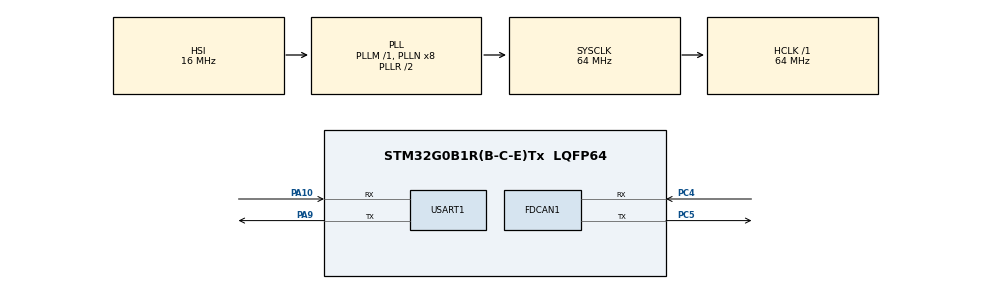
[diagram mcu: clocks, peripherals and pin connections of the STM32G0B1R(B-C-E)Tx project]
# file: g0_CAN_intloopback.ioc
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FDCAN1.CalculateBaudRateNominal=500000
FDCAN1.CalculateTimeBitNominal=2000
FDCAN1.CalculateTimeQuantumNominal=125.0
FDCAN1.Mode=FDCAN_MODE_INTERNAL_LOOPBACK
FDCAN1.NominalPrescaler=8
FDCAN1.NominalTimeSeg1=13
FDCAN1.NominalTimeSeg2=2
FDCAN1.StdFiltersNbr=1
Mcu.Family=STM32G0
Mcu.Name=STM32G0B1R(B-C-E)Tx
Mcu.Package=LQFP64
NVIC.TIM16_FDCAN_IT0_IRQn=true\:0\:0\:false\:false\:true\:true\:true\:true
PA10.Mode=Asynchronous
PA10.Signal=USART1_RX
PA13.Mode=Serial_Wire
PA13.Signal=SYS_SWDIO
PA14-BOOT0.Mode=Serial_Wire
PA14-BOOT0.Signal=SYS_SWCLK
PA9.Mode=Asynchronous
PA9.Signal=USART1_TX
PC4.Mode=FDCAN_Activate
PC4.Signal=FDCAN1_RX
PC5.Mode=FDCAN_Activate
PC5.Signal=FDCAN1_TX
PF0-OSC_IN\ (PF0).Mode=HSE-External-Oscillator
PF0-OSC_IN\ (PF0).Signal=RCC_OSC_IN
PF1-OSC_OUT\ (PF1).Mode=HSE-External-Oscillator
PF1-OSC_OUT\ (PF1).Signal=RCC_OSC_OUT
ProjectManager.HeapSize=0x200
ProjectManager.StackSize=0x400
ProjectManager.TargetToolchain=STM32CubeIDE
RCC.ADCFreq_Value=64000000
RCC.AHBFreq_Value=64000000
RCC.CortexFreq_Value=64000000
RCC.EXTERNAL_CLOCK_VALUE=48000
RCC.HCLKFreq_Value=64000000
RCC.HSE_VALUE=8000000
RCC.HSI48_VALUE=48000000
RCC.HSI_VALUE=16000000
RCC.LSE_VALUE=32768
RCC.SYSCLKFreq_VALUE=64000000
RCC.SYSCLKSource=RCC_SYSCLKSOURCE_PLLCLK
RCC.USBFreq_Value=48000000
RCC.VCOOutputFreq_Value=128000000
USART1.VirtualMode-Asynchronous=VM_ASYNC
VP_SYS_VS_DBSignals.Mode=DisableDeadBatterySignals
board=custom

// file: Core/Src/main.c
/* USER CODE BEGIN Header */
/**
  ******************************************************************************
  * @file           : main.c
  * @brief          : Main program body
  ******************************************************************************
  * @attention
  *
  * Copyright (c) 2026 STMicroelectronics.
  * All rights reserved.
  *
  * This software is licensed under terms that can be found in the LICENSE file
  * in the root directory of this software component.
  * If no LICENSE file comes with this software, it is provided AS-IS.
  *
  ******************************************************************************
  */
/* USER CODE END Header */
#include "main.h"

/* USER CODE BEGIN Includes */
#include <stdio.h>
#include "string.h"
/* USER CODE END Includes */

FDCAN_HandleTypeDef hfdcan1;

UART_HandleTypeDef huart1;

/* USER CODE BEGIN PV */
FDCAN_TxHeaderTypeDef TxHeader;
FDCAN_RxHeaderTypeDef RxHeader;
/* USER CODE END PV */

void SystemClock_Config(void);
static void MX_GPIO_Init(void);
static void MX_FDCAN1_Init(void);
static void MX_USART1_UART_Init(void);

/* USER CODE BEGIN 0 */
uint8_t TxData[8];
uint8_t RxData[8];

char msg[100];

volatile uint8_t rx_flag = 0;
uint8_t last_rx = 0;

void HAL_FDCAN_RxFifo0Callback(FDCAN_HandleTypeDef *hfdcan, uint32_t RxFifo0ITs)
{
    if (RxFifo0ITs & FDCAN_IT_RX_FIFO0_NEW_MESSAGE)
    {
        HAL_FDCAN_GetRxMessage(hfdcan, FDCAN_RX_FIFO0, &RxHeader, RxData);

        /* Store data only (NO PRINTING HERE) */
        last_rx = RxData[0];
        rx_flag = 1;
    }
}
/* USER CODE END 0 */

int main(void)
{

  /* MCU Configuration--------------------------------------------------------*/

  /* Reset of all peripherals, Initializes the Flash interface and the Systick. */
  HAL_Init();

  /* Configure the system clock */
  SystemClock_Config();

  /* Initialize all configured peripherals */
  MX_GPIO_Init();
  MX_FDCAN1_Init();
  MX_USART1_UART_Init();
  /* USER CODE BEGIN 2 */
  HAL_FDCAN_Start(&hfdcan1);
  HAL_FDCAN_ActivateNotification(&hfdcan1, FDCAN_IT_RX_FIFO0_NEW_MESSAGE, 0);
  	  TxHeader.Identifier = 0x111;
      TxHeader.IdType = FDCAN_STANDARD_ID;
      TxHeader.FDFormat = FDCAN_CLASSIC_CAN;
      TxHeader.TxFrameType = FDCAN_DATA_FRAME;
      TxHeader.BitRateSwitch = FDCAN_BRS_OFF;
      TxHeader.DataLength = FDCAN_DLC_BYTES_1;
      TxHeader.ErrorStateIndicator = FDCAN_ESI_ACTIVE;
      TxHeader.TxEventFifoControl = FDCAN_NO_TX_EVENTS;
      TxHeader.MessageMarker = 0;

      TxData[0] = 0x001;

      if(HAL_FDCAN_ActivateNotification(&hfdcan1, FDCAN_IT_RX_FIFO0_NEW_MESSAGE, 0) != HAL_OK)
      {
    	  Error_Handler();
      }

  /* USER CODE END 2 */

  /* Infinite loop */
  while (1)
  {

    /* USER CODE BEGIN 3 */
	HAL_FDCAN_AddMessageToTxFifoQ(&hfdcan1, &TxHeader, TxData);
	sprintf(msg, "TX Sent\r\n");
	HAL_UART_Transmit(&huart1, (uint8_t*)msg, strlen(msg), HAL_MAX_DELAY);
    if (rx_flag)
    {
        sprintf(msg, "RX: %d\r\n", last_rx);
        HAL_UART_Transmit(&huart1, (uint8_t*)msg, strlen(msg), HAL_MAX_DELAY);

        rx_flag = 0;
    }

    HAL_Delay(1000);
  }
  /* USER CODE END 3 */
}

void SystemClock_Config(void)
{
  RCC_OscInitTypeDef RCC_OscInitStruct = {0};
  RCC_ClkInitTypeDef RCC_ClkInitStruct = {0};

  /** Configure the main internal regulator output voltage
  */
  HAL_PWREx_ControlVoltageScaling(PWR_REGULATOR_VOLTAGE_SCALE1);

  /** Initializes the RCC Oscillators according to the specified parameters
  * in the RCC_OscInitTypeDef structure.
  */
  RCC_OscInitStruct.OscillatorType = RCC_OSCILLATORTYPE_HSI;
  RCC_OscInitStruct.HSIState = RCC_HSI_ON;
  RCC_OscInitStruct.HSIDiv = RCC_HSI_DIV1;
  RCC_OscInitStruct.HSICalibrationValue = RCC_HSICALIBRATION_DEFAULT;
  RCC_OscInitStruct.PLL.PLLState = RCC_PLL_ON;
  RCC_OscInitStruct.PLL.PLLSource = RCC_PLLSOURCE_HSI;
  RCC_OscInitStruct.PLL.PLLM = RCC_PLLM_DIV1;
  RCC_OscInitStruct.PLL.PLLN = 8;
  RCC_OscInitStruct.PLL.PLLP = RCC_PLLP_DIV2;
  RCC_OscInitStruct.PLL.PLLQ = RCC_PLLQ_DIV2;
  RCC_OscInitStruct.PLL.PLLR = RCC_PLLR_DIV2;
  if (HAL_RCC_OscConfig(&RCC_OscInitStruct) != HAL_OK)
  {
    Error_Handler();
  }

  /** Initializes the CPU, AHB and APB buses clocks
  */
  RCC_ClkInitStruct.ClockType = RCC_CLOCKTYPE_HCLK|RCC_CLOCKTYPE_SYSCLK
                              |RCC_CLOCKTYPE_PCLK1;
  RCC_ClkInitStruct.SYSCLKSource = RCC_SYSCLKSOURCE_PLLCLK;
  RCC_ClkInitStruct.AHBCLKDivider = RCC_SYSCLK_DIV1;
  RCC_ClkInitStruct.APB1CLKDivider = RCC_HCLK_DIV1;

  if (HAL_RCC_ClockConfig(&RCC_ClkInitStruct, FLASH_LATENCY_2) != HAL_OK)
  {
    Error_Handler();
  }
}

static void MX_FDCAN1_Init(void)
{

  hfdcan1.Instance = FDCAN1;
  hfdcan1.Init.ClockDivider = FDCAN_CLOCK_DIV1;
  hfdcan1.Init.FrameFormat = FDCAN_FRAME_CLASSIC;
  hfdcan1.Init.Mode = FDCAN_MODE_INTERNAL_LOOPBACK;
  hfdcan1.Init.AutoRetransmission = DISABLE;
  hfdcan1.Init.TransmitPause = DISABLE;
  hfdcan1.Init.ProtocolException = DISABLE;
  hfdcan1.Init.NominalPrescaler = 8;
  hfdcan1.Init.NominalSyncJumpWidth = 1;
  hfdcan1.Init.NominalTimeSeg1 = 13;
  hfdcan1.Init.NominalTimeSeg2 = 2;
  hfdcan1.Init.DataPrescaler = 1;
  hfdcan1.Init.DataSyncJumpWidth = 1;
  hfdcan1.Init.DataTimeSeg1 = 1;
  hfdcan1.Init.DataTimeSeg2 = 1;
  hfdcan1.Init.StdFiltersNbr = 1;
  hfdcan1.Init.ExtFiltersNbr = 0;
  hfdcan1.Init.TxFifoQueueMode = FDCAN_TX_FIFO_OPERATION;
  if (HAL_FDCAN_Init(&hfdcan1) != HAL_OK)
  {
    Error_Handler();
  }
  /* USER CODE BEGIN FDCAN1_Init 2 */
  FDCAN_FilterTypeDef filterlol;

      filterlol.IdType = FDCAN_STANDARD_ID;
      filterlol.FilterIndex = 0;
      filterlol.FilterType = FDCAN_FILTER_MASK;
      filterlol.FilterConfig = FDCAN_FILTER_TO_RXFIFO0;
      filterlol.FilterID1 = 0x000;
      filterlol.FilterID2 = 0x000;

      HAL_FDCAN_ConfigFilter(&hfdcan1, &filterlol);

      HAL_FDCAN_ConfigGlobalFilter(&hfdcan1, FDCAN_ACCEPT_IN_RX_FIFO0, FDCAN_ACCEPT_IN_RX_FIFO0, FDCAN_REJECT_REMOTE, FDCAN_REJECT_REMOTE);

      if (HAL_FDCAN_ConfigFilter(&hfdcan1, &filterlol) != HAL_OK)
      {
          Error_Handler();
      }
      if (HAL_FDCAN_ConfigGlobalFilter(&hfdcan1, FDCAN_ACCEPT_IN_RX_FIFO0, FDCAN_ACCEPT_IN_RX_FIFO0, FDCAN_REJECT_REMOTE, FDCAN_REJECT_REMOTE) != HAL_OK)
      {
          Error_Handler();
      }
  /* USER CODE END FDCAN1_Init 2 */

}

static void MX_USART1_UART_Init(void)
{

  huart1.Instance = USART1;
  huart1.Init.BaudRate = 115200;
  huart1.Init.WordLength = UART_WORDLENGTH_8B;
  huart1.Init.StopBits = UART_STOPBITS_1;
  huart1.Init.Parity = UART_PARITY_NONE;
  huart1.Init.Mode = UART_MODE_TX_RX;
  huart1.Init.HwFlowCtl = UART_HWCONTROL_NONE;
  huart1.Init.OverSampling = UART_OVERSAMPLING_16;
  huart1.Init.OneBitSampling = UART_ONE_BIT_SAMPLE_DISABLE;
  huart1.Init.ClockPrescaler = UART_PRESCALER_DIV1;
  huart1.AdvancedInit.AdvFeatureInit = UART_ADVFEATURE_NO_INIT;
  if (HAL_UART_Init(&huart1) != HAL_OK)
  {
    Error_Handler();
  }
  if (HAL_UARTEx_SetTxFifoThreshold(&huart1, UART_TXFIFO_THRESHOLD_1_8) != HAL_OK)
  {
    Error_Handler();
  }
  if (HAL_UARTEx_SetRxFifoThreshold(&huart1, UART_RXFIFO_THRESHOLD_1_8) != HAL_OK)
  {
    Error_Handler();
  }
  if (HAL_UARTEx_DisableFifoMode(&huart1) != HAL_OK)
  {
    Error_Handler();
  }

}

static void MX_GPIO_Init(void)
{

  /* GPIO Ports Clock Enable */
  __HAL_RCC_GPIOF_CLK_ENABLE();
  __HAL_RCC_GPIOC_CLK_ENABLE();
  __HAL_RCC_GPIOA_CLK_ENABLE();

}

void Error_Handler(void)
{
  __disable_irq();
  while (1)
  {
  }
}
